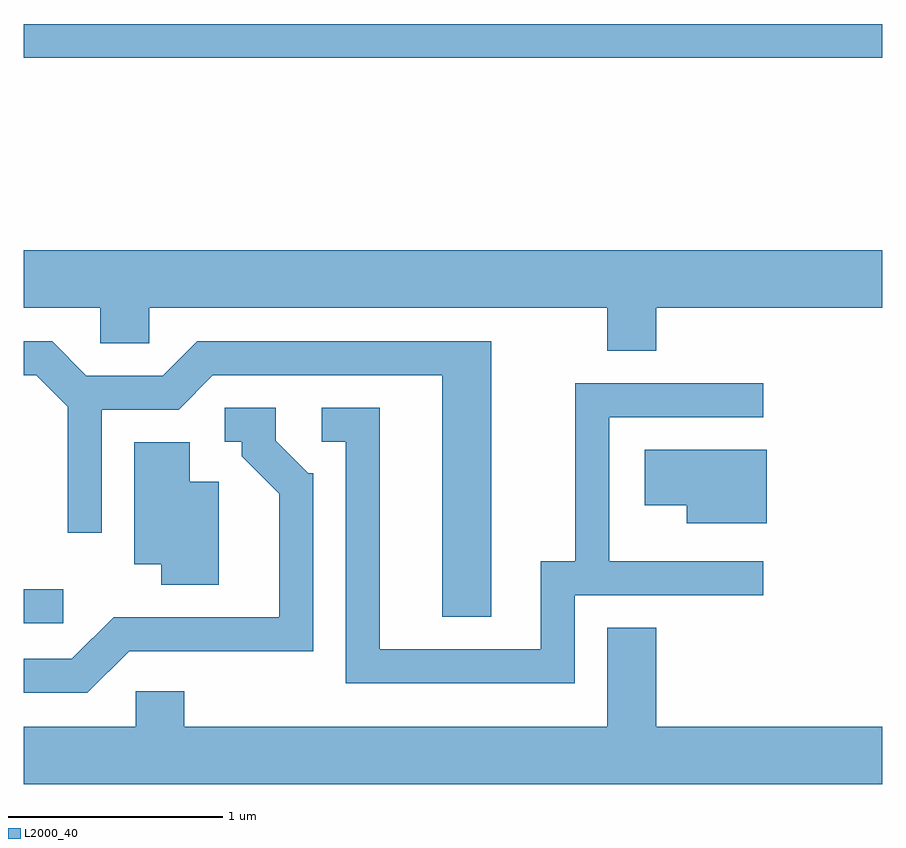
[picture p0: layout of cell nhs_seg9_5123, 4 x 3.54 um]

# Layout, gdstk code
import gdstk
lib = gdstk.Library(unit=1e-6, precision=1e-09)
def R(c, l, rs):  # rectangles x0, y0, x1, y1
    for r in rs: c.add(gdstk.rectangle(r[:2], r[2:], *l))
def P(c, l, *ps):  # polygons
    for p in ps: c.add(gdstk.Polygon(p, *l))
L2000_40 = (2000, 40)

nhs_seg9_5123 = lib.new_cell('nhs_seg9_5123')
R(nhs_seg9_5123, L2000_40, [(335.611,2043.626,335.793,2043.784), (335.611,2046.261,339.611,2046.419)])
P(nhs_seg9_5123, L2000_40, [(338.559,2045.096),(339.611,2045.096),(339.611,2045.364),(335.611,2045.364),(335.611,2045.096),(335.966,2045.096),(335.966,2044.931),(336.194,2044.931),(336.194,2045.096),(338.331,2045.096),(338.331,2044.896),(338.559,2044.896)],
  [(337.789,2044.939),(336.419,2044.939),(336.259,2044.779),(335.902,2044.779),(335.742,2044.939),(335.611,2044.939),(335.611,2044.781),(335.669,2044.781),(335.816,2044.634),(335.816,2044.048),(335.974,2044.048),(335.974,2044.621),(336.332,2044.621),(336.492,2044.781),(337.561,2044.781),(337.561,2043.656),(337.789,2043.656)],
  [(338.179,2043.756),(339.058,2043.756),(339.058,2043.914),(338.339,2043.914),(338.339,2044.586),(339.058,2044.586),(339.058,2044.744),(338.181,2044.744),(338.181,2043.914),(338.021,2043.914),(338.021,2043.504),(337.269,2043.504),(337.269,2044.629),(336.998,2044.629),(336.998,2044.471),(337.111,2044.471),(337.111,2043.346),(338.179,2043.346)],
  [(336.102,2043.496),(336.959,2043.496),(336.959,2044.324),(336.937,2044.324),(336.784,2044.477),(336.784,2044.629),(336.548,2044.629),(336.548,2044.471),(336.626,2044.471),(336.626,2044.404),(336.801,2044.229),(336.801,2043.654),(336.029,2043.654),(335.834,2043.459),(335.611,2043.459),(335.611,2043.301),(335.907,2043.301)],
  [(336.519,2044.284),(336.384,2044.284),(336.384,2044.469),(336.126,2044.469),(336.126,2043.901),(336.251,2043.901),(336.251,2043.806),(336.519,2043.806)],
  [(339.074,2044.434),(338.506,2044.434),(338.506,2044.176),(338.701,2044.176),(338.701,2044.091),(339.074,2044.091)],
  [(339.611,2043.144),(338.559,2043.144),(338.559,2043.604),(338.331,2043.604),(338.331,2043.144),(336.359,2043.144),(336.359,2043.309),(336.131,2043.309),(336.131,2043.144),(335.611,2043.144),(335.611,2042.876),(339.611,2042.876)])

lib.write_gds('nhs_seg9_5123.gds')
